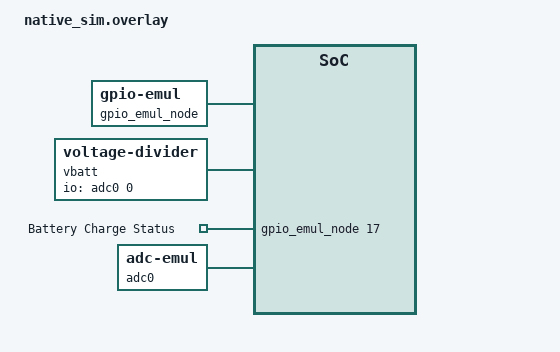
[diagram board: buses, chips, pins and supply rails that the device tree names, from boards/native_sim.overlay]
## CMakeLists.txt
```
# Copyright (c) 2026 Eaton
# SPDX-License-Identifier: LicenseRef-Nordic-5-Clause
cmake_minimum_required(VERSION 3.20.0)

find_package(Zephyr REQUIRED HINTS $ENV{ZEPHYR_BASE})
project(integration_battery_service)

set(APP_SRC ${CMAKE_SOURCE_DIR}/../../../src)
set(APP_INC ${CMAKE_SOURCE_DIR}/../../../include)

target_sources(app PRIVATE
	src/test_battery_service.c
	${APP_SRC}/battery_service.c
)

target_include_directories(app PRIVATE
	src
	${APP_INC}
)
```

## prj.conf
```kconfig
# Integration coverage test for app/src/battery_service.c on native_sim.
#
# Compiles the production battery_service.c against zephyr,adc-emul and
# the standard voltage-divider sensor driver, plus gpio-emul for the
# charge-status pin. No Nordic-specific peripherals.

CONFIG_ZTEST=y
CONFIG_ZTEST_VERBOSE_OUTPUT=y

CONFIG_HEAP_MEM_POOL_SIZE=8192
CONFIG_MAIN_STACK_SIZE=4096

CONFIG_GPIO=y
CONFIG_GPIO_EMUL=y

CONFIG_ADC=y
CONFIG_ADC_EMUL=y
CONFIG_SENSOR=y

# voltage-divider is a separate Kconfig. Auto-enabled when its compatible
# node is "okay" via Kconfig.defconfig, but make the dependency explicit.
CONFIG_VOLTAGE_DIVIDER=y

CONFIG_BT=n

CONFIG_LOG=y
CONFIG_LOG_MODE_IMMEDIATE=y
CONFIG_LOG_DEFAULT_LEVEL=2
```

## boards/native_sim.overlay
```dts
/*
 * Copyright (c) 2026 Eaton
 * SPDX-License-Identifier: LicenseRef-Nordic-5-Clause
 *
 * Devicetree fragment for the battery_service integration test on
 * native_sim. Provides:
 *   - zephyr,adc-emul with one channel
 *   - voltage-divider node bound to that channel (matches the production
 *     /vbatt node consumed by app/src/battery_service.c)
 *   - gpio-emul + gpio-keys node providing the charge_status pin
 */

#include <zephyr/dt-bindings/adc/adc.h>

/ {
	gpio_emul_node: gpio_emul {
		compatible = "zephyr,gpio-emul";
		gpio-controller;
		#gpio-cells = <2>;
		status = "okay";
	};

	vbatt {
		compatible = "voltage-divider";
		status = "okay";
		io-channels = <&adc0 0>;
		output-ohms = <180000>;
		full-ohms = <(180000 + 1500000)>;
		power-on-sample-delay-us = <10000>;
	};

	charging {
		compatible = "gpio-keys";
		charge_status: charge_status {
			gpios = <&gpio_emul_node 17 0>;
			label = "Battery Charge Status";
		};
	};

	adc0: adc {
		compatible = "zephyr,adc-emul";
		nchannels = <1>;
		ref-internal-mv = <3300>;
		#io-channel-cells = <1>;
		status = "okay";

		#address-cells = <1>;
		#size-cells = <0>;

		channel@0 {
			reg = <0>;
			zephyr,gain = "ADC_GAIN_1";
			zephyr,reference = "ADC_REF_INTERNAL";
			zephyr,vref-mv = <3300>;
			zephyr,acquisition-time = <ADC_ACQ_TIME_DEFAULT>;
			zephyr,resolution = <12>;
		};
	};
};
```

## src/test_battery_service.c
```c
/*
 * Copyright (c) 2026 Eaton
 * SPDX-License-Identifier: LicenseRef-Nordic-5-Clause
 *
 * Integration coverage test for app/src/battery_service.c.
 *
 * Drives the production module against zephyr,adc-emul + voltage-divider
 * + gpio-emul. Uses adc_emul_const_value_set() to inject canned ADC
 * readings so the voltage-to-percentage conversion path runs end-to-end.
 */

#include <zephyr/ztest.h>
#include <zephyr/device.h>
#include <zephyr/devicetree.h>
#include <zephyr/drivers/adc.h>
#include <zephyr/drivers/adc/adc_emul.h>
#include <zephyr/drivers/gpio.h>
#include <zephyr/drivers/gpio/gpio_emul.h>

#include "battery_service.h"

#define ADC_NODE        DT_NODELABEL(adc0)
#define VBATT_NODE      DT_PATH(vbatt)
#define CHARGE_GPIO_PIN 17

static const struct device *adc_dev = DEVICE_DT_GET(ADC_NODE);
static const struct device *gpio_dev = DEVICE_DT_GET(DT_NODELABEL(gpio_emul_node));

static void *suite_setup(void)
{
	/* Seed a plausible ADC reading and run init exactly once. The
	 * production module guards against double-init and keeps state in
	 * file-scope variables, so subsequent tests share the same
	 * initialised module.
	 */
	int err = adc_emul_const_value_set(adc_dev, 0, 450);
	zassert_ok(err, "adc_emul seed: %d", err);

	err = battery_service_init();
	zassert_ok(err, "battery_service_init: %d", err);
	return NULL;
}

static void set_battery_mv(uint32_t battery_mv)
{
	/* Voltage divider in the overlay scales by output / full =
	 * 180k / (180k + 1.5M) = ~10.71%. Inject the divided voltage so the
	 * voltage-divider driver scales it back up.
	 */
	uint32_t adc_input_mv = (battery_mv * 180U) / (180U + 1500U);
	int err = adc_emul_const_value_set(adc_dev, 0, adc_input_mv);
	zassert_ok(err, "adc_emul_const_value_set: %d", err);
}

static int charging_cb_count;
static bool charging_cb_last_state;
static void charging_cb(bool charging)
{
	charging_cb_count++;
	charging_cb_last_state = charging;
}

ZTEST(battery_service_integration, test_init_and_sample_full)
{
	zassert_true(device_is_ready(adc_dev), "adc emul not ready");
	zassert_true(device_is_ready(gpio_dev), "gpio emul not ready");

	/* Drive a "full battery" reading and verify clamping to 100%. The
	 * voltage-divider scaling round-trip plus the 12-bit ADC quantisation
	 * loses about 1% near the rails, so push slightly above the full
	 * threshold (4200 mV) to land on 100%.
	 */
	set_battery_mv(4250);

	int ret = battery_service_sample();
	zassert_ok(ret, "battery_service_sample: %d", ret);

	int level = battery_service_get_level();
	zassert_equal(level, 100, ">= 4200 mV should clamp to 100%%, got %d", level);
}

ZTEST(battery_service_integration, test_voltage_to_percentage_curve)
{
	/* Mid-range and empty paths through voltage_to_percentage(). */
	set_battery_mv(3600);
	zassert_ok(battery_service_sample(), "sample at 3600 mV");
	int mid = battery_service_get_level();
	zassert_true(mid > 0 && mid < 100, "mid-range expected, got %d", mid);

	set_battery_mv(2900);
	zassert_ok(battery_service_sample(), "sample at 2900 mV");
	int empty = battery_service_get_level();
	zassert_equal(empty, 0, "<= 3000 mV should be 0%%, got %d", empty);
}

ZTEST(battery_service_integration, test_charging_status_and_callback)
{
	battery_service_register_charging_callback(charging_cb);
	charging_cb_count = 0;

	/* charge_status is active-low: drive the line low to indicate charging. */
	int err = gpio_emul_input_set(gpio_dev, CHARGE_GPIO_PIN, 0);
	zassert_ok(err, "gpio_emul_input_set low: %d", err);
	zassert_true(battery_service_is_charging(),
		     "expected charging when pin pulled low");

	err = gpio_emul_input_set(gpio_dev, CHARGE_GPIO_PIN, 1);
	zassert_ok(err, "gpio_emul_input_set high: %d", err);
	zassert_false(battery_service_is_charging(),
		      "expected not-charging when pin pulled high");

	/* The is_charging() polling path invokes the callback on transitions;
	 * we forced two transitions above.
	 */
	zassert_true(charging_cb_count >= 1, "callback should have fired");
}

ZTEST_SUITE(battery_service_integration, NULL, suite_setup, NULL, NULL, NULL);
```
